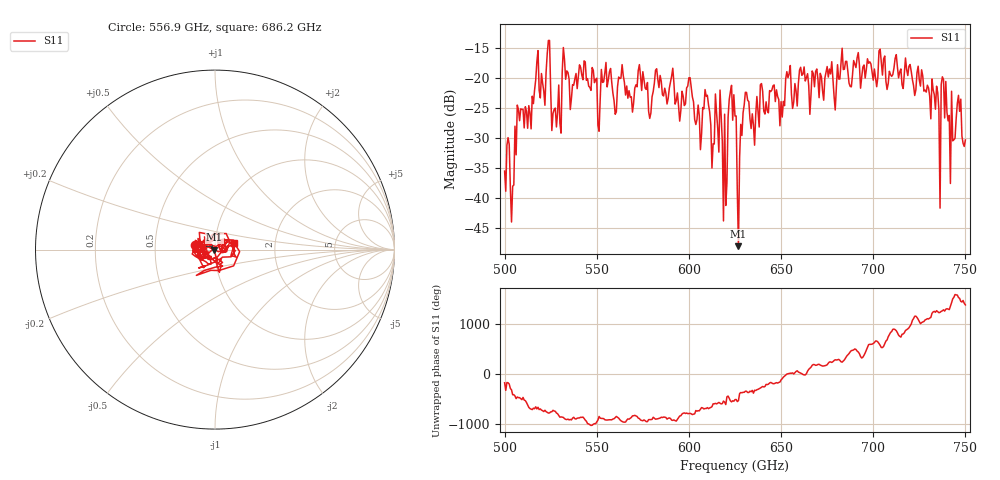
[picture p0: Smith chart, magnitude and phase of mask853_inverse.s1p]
!Created with skrf (http://scikit-rf.org).
# GHz S MA R 50.0
!freq magS11 angS11
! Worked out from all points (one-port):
!   401 points, 500 GHz to 750 GHz, reference 50 ohm
!   lowest |S11| = -47.9 dB at 626.9 GHz (marker M1), VSWR 1.01, Z = 49.6 - j0.0533 ohm
!   |S11| at or under -10 dB: start of sweep to end of sweep
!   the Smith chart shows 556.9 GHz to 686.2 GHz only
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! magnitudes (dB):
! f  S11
! 500 GHz  -35.5
! 503.8 GHz  -43.9
! 508.1 GHz  -27.1
! 513.1 GHz  -24.6
! 517.5 GHz  -17.3
! 523.8 GHz  -13.7
! 526.9 GHz  -25.2
! 531.2 GHz  -19.0
! 562.5 GHz  -20.1
! 593.8 GHz  -22.5
! 605.6 GHz  -26.2
! 610 GHz  -22.9
! 612.5 GHz  -35.0
! 616.2 GHz  -32.3
! 619.4 GHz  -26.0
! 622.5 GHz  -22.3
! 625 GHz  -26.3
! 626.9 GHz  -47.9
! 631.2 GHz  -22.4
! 634.4 GHz  -25.9
! 656.2 GHz  -25.0
! 687.5 GHz  -21.4
! 718.8 GHz  -19.6
! 735 GHz  -22.4
! 738.1 GHz  -20.2
! 743.1 GHz  -30.4
! 746.2 GHz  -22.9
! 750 GHz  -30.3
